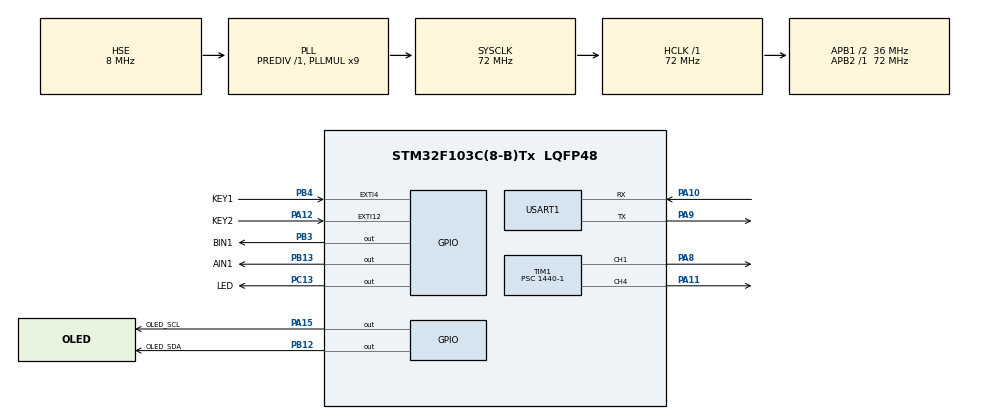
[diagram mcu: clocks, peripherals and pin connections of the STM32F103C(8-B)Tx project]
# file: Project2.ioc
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Mcu.Family=STM32F1
Mcu.Name=STM32F103C(8-B)Tx
Mcu.Package=LQFP48
NVIC.EXTI15_10_IRQn=true\:0\:0\:false\:false\:true\:true\:true\:true
NVIC.EXTI4_IRQn=true\:0\:0\:false\:false\:true\:true\:true\:true
NVIC.PriorityGroup=NVIC_PRIORITYGROUP_4
PA10.Mode=Asynchronous
PA10.Signal=USART1_RX
PA11.Signal=S_TIM1_CH4
PA12.GPIO_Label=KEY2
PA12.GPIO_ModeDefaultEXTI=GPIO_MODE_IT_FALLING
PA12.GPIO_PuPd=GPIO_PULLUP
PA12.Signal=GPXTI12
PA13.Mode=Serial_Wire
PA13.Signal=SYS_JTMS-SWDIO
PA14.Mode=Serial_Wire
PA14.Signal=SYS_JTCK-SWCLK
PA15.GPIO_Label=OLED_SCL
PA15.GPIO_PuPd=GPIO_PULLUP
PA15.PinState=GPIO_PIN_SET
PA15.Signal=GPIO_Output
PA8.Signal=S_TIM1_CH1
PA9.Mode=Asynchronous
PA9.Signal=USART1_TX
PB12.GPIO_Label=OLED_SDA
PB12.GPIO_PuPd=GPIO_PULLUP
PB12.PinState=GPIO_PIN_SET
PB12.Signal=GPIO_Output
PB13.GPIO_Label=AIN1
PB13.Signal=GPIO_Output
PB3.GPIO_Label=BIN1
PB3.Signal=GPIO_Output
PB4.GPIO_Label=KEY1
PB4.GPIO_ModeDefaultEXTI=GPIO_MODE_IT_RISING
PB4.GPIO_PuPd=GPIO_PULLDOWN
PB4.Signal=GPXTI4
PC13-TAMPER-RTC.GPIO_Label=LED
PC13-TAMPER-RTC.Signal=GPIO_Output
PD0-OSC_IN.Mode=HSE-External-Oscillator
PD0-OSC_IN.Signal=RCC_OSC_IN
PD1-OSC_OUT.Mode=HSE-External-Oscillator
PD1-OSC_OUT.Signal=RCC_OSC_OUT
ProjectManager.HeapSize=0x200
ProjectManager.StackSize=0x400
ProjectManager.TargetToolchain=MDK-ARM V5.32
RCC.AHBFreq_Value=72000000
RCC.APB1CLKDivider=RCC_HCLK_DIV2
RCC.APB1Freq_Value=36000000
RCC.APB1TimFreq_Value=72000000
RCC.APB2Freq_Value=72000000
RCC.APB2TimFreq_Value=72000000
RCC.HCLKFreq_Value=72000000
RCC.PLLMUL=RCC_PLL_MUL9
RCC.PLLSourceVirtual=RCC_PLLSOURCE_HSE
RCC.SYSCLKFreq_VALUE=72000000
RCC.SYSCLKSource=RCC_SYSCLKSOURCE_PLLCLK
RCC.USBFreq_Value=72000000
SH.S_TIM1_CH1.0=TIM1_CH1,PWM Generation1 CH1
SH.S_TIM1_CH4.0=TIM1_CH4,PWM Generation4 CH4
TIM1.Channel-PWM\ Generation1\ CH1=TIM_CHANNEL_1
TIM1.Channel-PWM\ Generation4\ CH4=TIM_CHANNEL_4
TIM1.Period=100-1
TIM1.Prescaler=1440-1
TIM1.Pulse-PWM\ Generation1\ CH1=50
TIM1.Pulse-PWM\ Generation4\ CH4=50
USART1.VirtualMode=VM_ASYNC
board=custom

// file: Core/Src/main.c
/* USER CODE BEGIN Header */
/**
  ******************************************************************************
  * @file           : main.c
  * @brief          : Main program body
  ******************************************************************************
  * @attention
  *
  * Copyright (c) 2022 STMicroelectronics.
  * All rights reserved.
  *
  * This software is licensed under terms that can be found in the LICENSE file
  * in the root directory of this software component.
  * If no LICENSE file comes with this software, it is provided AS-IS.
  *
  ******************************************************************************
  */
/* USER CODE END Header */
#include "main.h"
#include "tim.h"
#include "usart.h"
#include "gpio.h"

/* USER CODE BEGIN Includes */
#include "oled.h"

/* USER CODE END Includes */

void SystemClock_Config(void);

int main(void)
{

  /* MCU Configuration--------------------------------------------------------*/

  /* Reset of all peripherals, Initializes the Flash interface and the Systick. */
  HAL_Init();

  /* Configure the system clock */
  SystemClock_Config();

  /* Initialize all configured peripherals */
  MX_GPIO_Init();
  MX_USART1_UART_Init();
  MX_TIM1_Init();
  /* USER CODE BEGIN 2 */
  OLED_Init();			//��ʼ��OLED
  OLED_Clear();
  HAL_TIM_PWM_Start(&htim1,TIM_CHANNEL_1);//开启定时器1 通道1 PWM输出
  HAL_TIM_PWM_Start(&htim1,TIM_CHANNEL_4);//开启定时器1 通道4 PWM输出

  /* USER CODE END 2 */

  /* Infinite loop */
  while (1)
  {

    /* USER CODE BEGIN 3 */
  		OLED_ShowCHinese(0,0,0);//中
		OLED_ShowCHinese(18,0,1);//景
		OLED_ShowCHinese(36,0,2);//园
		OLED_ShowCHinese(54,0,3);//电
		OLED_ShowCHinese(72,0,4);//子
		OLED_ShowCHinese(90,0,5);//科
		OLED_ShowCHinese(108,0,6);//技
//	uint8_t c_Data[] = "串口输出测试:好家伙VCC\r\n";
//	HAL_UART_Transmit(&huart1,c_Data,sizeof(c_Data),0xFFFF);
	HAL_Delay(1000);
	printf("printf:好家伙VCC测试\r\n");
//	HAL_GPIO_TogglePin(LED_GPIO_Port,LED_Pin);
//	HAL_Delay(500);
	__HAL_TIM_SET_COMPARE(&htim1, TIM_CHANNEL_1, 40);

  }
  /* USER CODE END 3 */
}

void SystemClock_Config(void)
{
  RCC_OscInitTypeDef RCC_OscInitStruct = {0};
  RCC_ClkInitTypeDef RCC_ClkInitStruct = {0};

  /** Initializes the RCC Oscillators according to the specified parameters
  * in the RCC_OscInitTypeDef structure.
  */
  RCC_OscInitStruct.OscillatorType = RCC_OSCILLATORTYPE_HSE;
  RCC_OscInitStruct.HSEState = RCC_HSE_ON;
  RCC_OscInitStruct.HSEPredivValue = RCC_HSE_PREDIV_DIV1;
  RCC_OscInitStruct.HSIState = RCC_HSI_ON;
  RCC_OscInitStruct.PLL.PLLState = RCC_PLL_ON;
  RCC_OscInitStruct.PLL.PLLSource = RCC_PLLSOURCE_HSE;
  RCC_OscInitStruct.PLL.PLLMUL = RCC_PLL_MUL9;
  if (HAL_RCC_OscConfig(&RCC_OscInitStruct) != HAL_OK)
  {
    Error_Handler();
  }

  /** Initializes the CPU, AHB and APB buses clocks
  */
  RCC_ClkInitStruct.ClockType = RCC_CLOCKTYPE_HCLK|RCC_CLOCKTYPE_SYSCLK
                              |RCC_CLOCKTYPE_PCLK1|RCC_CLOCKTYPE_PCLK2;
  RCC_ClkInitStruct.SYSCLKSource = RCC_SYSCLKSOURCE_PLLCLK;
  RCC_ClkInitStruct.AHBCLKDivider = RCC_SYSCLK_DIV1;
  RCC_ClkInitStruct.APB1CLKDivider = RCC_HCLK_DIV2;
  RCC_ClkInitStruct.APB2CLKDivider = RCC_HCLK_DIV1;

  if (HAL_RCC_ClockConfig(&RCC_ClkInitStruct, FLASH_LATENCY_2) != HAL_OK)
  {
    Error_Handler();
  }
}

void Error_Handler(void)
{
  __disable_irq();
  while (1)
  {
  }
}
